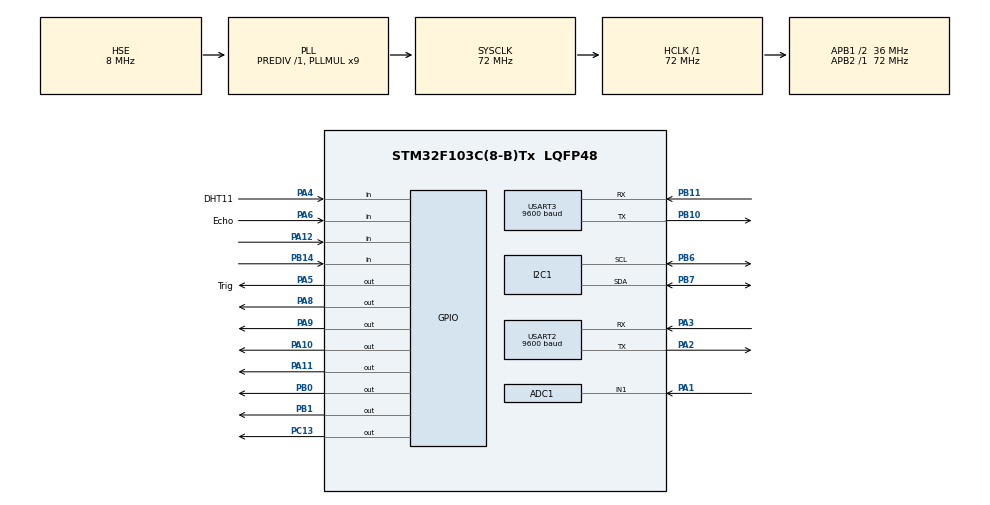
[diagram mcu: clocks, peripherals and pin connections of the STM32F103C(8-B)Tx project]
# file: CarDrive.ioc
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Mcu.Family=STM32F1
NVIC.USART3_IRQn=true\:0\:0\:false\:false\:true\:true\:true
PB10.Mode=Asynchronous
PA6.GPIO_Label=Echo
PB11.Signal=USART3_RX
RCC.SYSCLKSource=RCC_SYSCLKSOURCE_PLLCLK
ProjectManager.StackSize=0x400
PD1-OSC_OUT.Signal=RCC_OSC_OUT
PA12.Signal=GPIO_Input
USART3.BaudRate=9600
RCC.HCLKFreq_Value=72000000
RCC.APB2TimFreq_Value=72000000
PB6.Signal=I2C1_SCL
PB6.Mode=I2C
RCC.AHBFreq_Value=72000000
ADC1.Channel-0\#ChannelRegularConversion=ADC_CHANNEL_1
PA4.GPIO_PuPd=GPIO_PULLUP
RCC.PLLMUL=RCC_PLL_MUL9
PA6.GPIO_PuPd=GPIO_PULLDOWN
PC14-OSC32_IN.Mode=LSE-External-Oscillator
PA14.Mode=Serial_Wire
PB7.Signal=I2C1_SDA
PA8.Signal=GPIO_Output
ADC1.SamplingTime-0\#ChannelRegularConversion=ADC_SAMPLETIME_1CYCLE_5
Mcu.Package=LQFP48
TIM2.Prescaler=71
PB14.GPIO_PuPd=GPIO_PULLDOWN
PB1.Signal=GPIO_Output
PA6.Signal=GPIO_Input
USART2.VirtualMode=VM_ASYNC
PA10.Signal=GPIO_Output
SH.ADCx_IN1.0=ADC1_IN1,IN1
RCC.APB1TimFreq_Value=72000000
PA12.GPIO_PuPd=GPIO_PULLUP
PA4.GPIO_Label=DHT11
PA3.Signal=USART2_RX
RCC.PLLSourceVirtual=RCC_PLLSOURCE_HSE
PC15-OSC32_OUT.Mode=LSE-External-Oscillator
ADC1.Rank-0\#ChannelRegularConversion=1
PD1-OSC_OUT.Mode=HSE-External-Oscillator
PC13-TAMPER-RTC.Signal=GPIO_Output
PD0-OSC_IN.Signal=RCC_OSC_IN
RCC.APB1CLKDivider=RCC_HCLK_DIV2
PC14-OSC32_IN.Signal=RCC_OSC32_IN
NVIC.USART2_IRQn=true\:0\:0\:false\:false\:true\:true\:true
USART2.BaudRate=9600
RCC.ADCPresc=RCC_ADCPCLK2_DIV6
PA13.Signal=SYS_JTMS-SWDIO
PA3.Mode=Asynchronous
PB11.Mode=Asynchronous
ProjectManager.TargetToolchain=STM32CubeIDE
PA9.Signal=GPIO_Output
RCC.USBFreq_Value=72000000
PC15-OSC32_OUT.Signal=RCC_OSC32_OUT
PA1.Signal=ADCx_IN1
PD0-OSC_IN.Mode=HSE-External-Oscillator
PB10.Signal=USART3_TX
PB14.Signal=GPIO_Input
PA5.Signal=GPIO_Output
board=custom
RCC.APB2Freq_Value=72000000
VP_TIM2_VS_ClockSourceINT.Mode=Internal
TIM2.Period=50000
PA13.Mode=Serial_Wire
Mcu.Name=STM32F103C(8-B)Tx
PA2.Signal=USART2_TX
PA4.Signal=GPIO_Input
RCC.SYSCLKFreq_VALUE=72000000
ADC1.master=1
PA5.GPIO_Label=Trig
USART3.VirtualMode=VM_ASYNC
PB7.Mode=I2C
PA11.Signal=GPIO_Output
PA14.Signal=SYS_JTCK-SWCLK
ProjectManager.HeapSize=0x200
NVIC.PriorityGroup=NVIC_PRIORITYGROUP_4
ADC1.NbrOfConversionFlag=1
PA2.Mode=Asynchronous
RCC.APB1Freq_Value=36000000
PB0.Signal=GPIO_Output

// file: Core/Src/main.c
/* USER CODE BEGIN Header */
/**
  ******************************************************************************
  * @file           : main.c
  * @brief          : Main program body
  ******************************************************************************
  * @attention
  *
  * <h2><center>&copy; Copyright (c) 2021 STMicroelectronics.
  * All rights reserved.</center></h2>
  *
  * This software component is licensed by ST under BSD 3-Clause license,
  * the "License"; You may not use this file except in compliance with the
  * License. You may obtain a copy of the License at:
  *                        opensource.org/licenses/BSD-3-Clause
  *
  ******************************************************************************
  */
/* USER CODE END Header */
#include "main.h"
#include "adc.h"
#include "i2c.h"
#include "tim.h"
#include "usart.h"
#include "gpio.h"

/* USER CODE BEGIN Includes */
#include "mlx90614.h"
#include "BMP180.h"
#include "GPS.h"
#include "DHT.h"
/* USER CODE END Includes */

/* USER CODE BEGIN PV */
uint8_t uart2_rxbuf[1];
uint8_t uart3_rxbuf[1];
uint8_t rxok[1];
uint8_t WheelDrive = 0x04;

float ObjectTemperature;
float AmbientTemperature;
float Emissivity;
float  sound = 0;
float temperature = 0;
float AirQuality = 0;
float humidity;
float distance;
uint32_t pressure = 0;
DHT_data DHT11data;

uint32_t package1[5] = {0,0,0,0,0};
uint32_t package2[5] = {0,0,0,0,0};
uint32_t package3[5] = {0,0,0,0,0};
uint32_t package4[5] = {0,0,0,0,0};

/* USER CODE END PV */

void SystemClock_Config(void);

/* USER CODE BEGIN 0 */

float airQuality(){
float Value[22];////取22个值做滤波用
	  float AD_Value;
	  HAL_ADCEx_Calibration_Start(&hadc1);
     for(char n=0;n<22;n++)

     {
         HAL_ADC_Start(&hadc1);
         HAL_ADC_PollForConversion(&hadc1, 10);    //等待转换完成，第二个参数表示超时时间，单位ms
         if(HAL_IS_BIT_SET(HAL_ADC_GetState(&hadc1), HAL_ADC_STATE_REG_EOC))
         {
             Value[n]=HAL_ADC_GetValue(&hadc1);
             AD_Value += Value[n];
         }
     }
     HAL_ADC_Stop(&hadc1);

     float max = Value[0];
     float min = Value[0];
     for(char n=0;n<22;n++)//取最大值、最小值
     {
         max = (Value[n]<max)?max:Value[n];
         min = (min<Value[n])?min:Value[n];
     }

     float result = (float)((AD_Value - max - min) / 20) * (3.311 / 4096);

     return result * 1000;
}

float getDistance() {
				HAL_TIM_Base_Start_IT(&htim2);
		  	    htim2.Instance->CNT = 0;
		  	    float t1,t2,distance;
		  	    HAL_GPIO_WritePin(Trig_GPIO_Port,Trig_Pin,GPIO_PIN_RESET);
		  	    HAL_GPIO_WritePin(Trig_GPIO_Port,Trig_Pin,GPIO_PIN_SET);
		  	    HAL_Delay(1);
		  	    HAL_GPIO_WritePin(Trig_GPIO_Port,Trig_Pin,GPIO_PIN_RESET);
		  	   while(HAL_GPIO_ReadPin(Echo_GPIO_Port,Echo_Pin) == GPIO_PIN_RESET)
		  	   t1=htim2.Instance->CNT;
		  	   while(HAL_GPIO_ReadPin(Echo_GPIO_Port,Echo_Pin) == GPIO_PIN_SET)
		  	   t2=htim2.Instance->CNT;
		  	   htim2.Instance->CNT = 0;
		  	   distance=(t2-t1)*17/(float)1000;
		  	   HAL_GPIO_WritePin(Trig_GPIO_Port,Trig_Pin,GPIO_PIN_RESET);
		  	   return distance;
}

/* USER CODE END 0 */

int main(void)
{

  /* MCU Configuration--------------------------------------------------------*/

  /* Reset of all peripherals, Initializes the Flash interface and the Systick. */
  HAL_Init();

  /* Configure the system clock */
  SystemClock_Config();

  /* Initialize all configured peripherals */
  MX_GPIO_Init();
  MX_USART2_UART_Init();
  MX_USART3_UART_Init();
  MX_I2C1_Init();
  MX_ADC1_Init();
  MX_TIM2_Init();
  /* USER CODE BEGIN 2 */

  HAL_UART_Receive_IT(&huart3, uart3_rxbuf, 1);
  BMP180_SetOversampling(BMP180_ULTRA);
  BMP180_UpdateCalibrationData();
  MLX90614_Init(&hi2c1);
  MLX90614_SetEmissivity(0.985);
  GPS_Init();

HAL_GPIO_WritePin(GPIOC,GPIO_PIN_13, GPIO_PIN_SET);

  /* USER CODE END 2 */

  /* Infinite loop */
  while (1)
  {

    /* USER CODE BEGIN 3 */

	  HAL_Delay(500);
	  distance = getDistance();
	  temperature = BMP180_GetRawTemperature();
	  pressure = BMP180_GetPressure();
	  MLX90614_ReadAmbientTemperature(&AmbientTemperature);
	  sound = HAL_GPIO_ReadPin(GPIOA,GPIO_PIN_12);
	  MLX90614_ReadObjectTemperature(&ObjectTemperature);
	  MLX90614_GetEmissivity(&Emissivity);
	  AirQuality = airQuality();
	  DHT11data = DHT_getData (DHT11);
	  if (DHT11data.hum != 0) humidity = DHT11data.hum;

//确定包头
	  package1[0] = 0;
	  package2[0] = 1;
	  package3[0] = 2;
	  package4[0] = 3;
//包1
	  package1[1] = pressure;
	  package1[2] = temperature;
	  memcpy(&package1[3],&AmbientTemperature,4);
	  memcpy(&package1[4],&ObjectTemperature,4);

//包2
	  memcpy(&package2[1],&AirQuality,4);
	  memcpy(&package2[2],&sound,4);

	  //直接把GPS经度（float类型） memcpy到数据包内
	  memcpy(&package2[3],&GPS.dec_longitude,4);
	  memcpy(&package2[4],&GPS.dec_latitude,4);
//包3
	  memcpy(&package3[1],&GPS.msl_altitude,4);
	  memcpy(&package3[2],&GPS.speed_km,4);
	  package3[3] = GPS.satelites;
	  memcpy(&package3[4],&humidity,4);

//包4
	  memcpy(&package4[1],&distance,4);

	  HAL_UART_Transmit(&huart3,package1,20,0xFFFF);
	  HAL_UART_Transmit(&huart3,package2,20,0xFFFF);
	  HAL_UART_Transmit(&huart3,package3,20,0xFFFF);
	  HAL_UART_Transmit(&huart3,package4,20,0xFFFF);

//
//
//	  }
//
//
//正对调节 右边延时，顺时延长
//
//	  if (HAL_GPIO_ReadPin(GPIOB, GPIO_PIN_14) == 1) {
//		  HAL_GPIO_WritePin(GPIOC,GPIO_PIN_13, GPIO_PIN_RESET);
//	  } else {
//		  HAL_GPIO_WritePin(GPIOC,GPIO_PIN_13, GPIO_PIN_SET);
//	  }
//

  }
  /* USER CODE END 3 */
}

void SystemClock_Config(void)
{
  RCC_OscInitTypeDef RCC_OscInitStruct = {0};
  RCC_ClkInitTypeDef RCC_ClkInitStruct = {0};
  RCC_PeriphCLKInitTypeDef PeriphClkInit = {0};

  /** Initializes the RCC Oscillators according to the specified parameters
  * in the RCC_OscInitTypeDef structure.
  */
  RCC_OscInitStruct.OscillatorType = RCC_OSCILLATORTYPE_HSE;
  RCC_OscInitStruct.HSEState = RCC_HSE_ON;
  RCC_OscInitStruct.HSEPredivValue = RCC_HSE_PREDIV_DIV1;
  RCC_OscInitStruct.HSIState = RCC_HSI_ON;
  RCC_OscInitStruct.PLL.PLLState = RCC_PLL_ON;
  RCC_OscInitStruct.PLL.PLLSource = RCC_PLLSOURCE_HSE;
  RCC_OscInitStruct.PLL.PLLMUL = RCC_PLL_MUL9;
  if (HAL_RCC_OscConfig(&RCC_OscInitStruct) != HAL_OK)
  {
    Error_Handler();
  }
  /** Initializes the CPU, AHB and APB buses clocks
  */
  RCC_ClkInitStruct.ClockType = RCC_CLOCKTYPE_HCLK|RCC_CLOCKTYPE_SYSCLK
                              |RCC_CLOCKTYPE_PCLK1|RCC_CLOCKTYPE_PCLK2;
  RCC_ClkInitStruct.SYSCLKSource = RCC_SYSCLKSOURCE_PLLCLK;
  RCC_ClkInitStruct.AHBCLKDivider = RCC_SYSCLK_DIV1;
  RCC_ClkInitStruct.APB1CLKDivider = RCC_HCLK_DIV2;
  RCC_ClkInitStruct.APB2CLKDivider = RCC_HCLK_DIV1;

  if (HAL_RCC_ClockConfig(&RCC_ClkInitStruct, FLASH_LATENCY_2) != HAL_OK)
  {
    Error_Handler();
  }
  PeriphClkInit.PeriphClockSelection = RCC_PERIPHCLK_ADC;
  PeriphClkInit.AdcClockSelection = RCC_ADCPCLK2_DIV6;
  if (HAL_RCCEx_PeriphCLKConfig(&PeriphClkInit) != HAL_OK)
  {
    Error_Handler();
  }
}

/* USER CODE BEGIN 4 */
void HAL_UART_RxCpltCallback(UART_HandleTypeDef *huart)
{
//串口3连接了蓝牙
	 if(huart->Instance == USART2)
	      {

		 	GPS_UART_CallBack();

			    // 重新注册一次，要不然下次收不到了（上个函数内部已经注册）
	      }
	 if(huart->Instance == USART3)
	      {
			//收到前驱信息
					if (uart3_rxbuf[0] == 0x03) {
						WheelDrive = 0x03;
					}
			//收到四驱信息
					if (uart3_rxbuf[0] == 0x04) {
						WheelDrive = 0x04;
					}
			//收到后驱信息
					if (uart3_rxbuf[0] == 0x05) {
						WheelDrive = 0x05;
					}

			//收到前进信息
			if (uart3_rxbuf[0] == 0xAA) {

				if(WheelDrive == 0x03)
				{
				  HAL_GPIO_WritePin(GPIOA,GPIO_PIN_8, GPIO_PIN_RESET);
				  HAL_GPIO_WritePin(GPIOA,GPIO_PIN_9, GPIO_PIN_SET);
				}
				else if (WheelDrive == 0x05)
				{
				  HAL_GPIO_WritePin(GPIOA,GPIO_PIN_10, GPIO_PIN_SET);
				  HAL_GPIO_WritePin(GPIOA,GPIO_PIN_11, GPIO_PIN_RESET);
				}
				else {
				  HAL_GPIO_WritePin(GPIOA,GPIO_PIN_8, GPIO_PIN_RESET);
				  HAL_GPIO_WritePin(GPIOA,GPIO_PIN_9, GPIO_PIN_SET);
				  HAL_GPIO_WritePin(GPIOA,GPIO_PIN_10, GPIO_PIN_SET);
				  HAL_GPIO_WritePin(GPIOA,GPIO_PIN_11, GPIO_PIN_RESET);
				}
			}
			//收到后退信息
			if (uart3_rxbuf[0] == 0xBB) {

				if(WheelDrive == 0x03)
				{
				  HAL_GPIO_WritePin(GPIOA,GPIO_PIN_8, GPIO_PIN_SET);
				  HAL_GPIO_WritePin(GPIOA,GPIO_PIN_9, GPIO_PIN_RESET);
				}
				else if (WheelDrive == 0x05)
				{
				  HAL_GPIO_WritePin(GPIOA,GPIO_PIN_10, GPIO_PIN_RESET);
				  HAL_GPIO_WritePin(GPIOA,GPIO_PIN_11, GPIO_PIN_SET);
				}
				else {
				  HAL_GPIO_WritePin(GPIOA,GPIO_PIN_8, GPIO_PIN_SET);
				  HAL_GPIO_WritePin(GPIOA,GPIO_PIN_9, GPIO_PIN_RESET);
				  HAL_GPIO_WritePin(GPIOA,GPIO_PIN_10, GPIO_PIN_RESET);
				  HAL_GPIO_WritePin(GPIOA,GPIO_PIN_11, GPIO_PIN_SET);
				}

			}

			//收到左转信息
					if (uart3_rxbuf[0] == 0xCC) {

						  HAL_GPIO_WritePin(GPIOB,GPIO_PIN_0, GPIO_PIN_RESET);
						  HAL_GPIO_WritePin(GPIOB,GPIO_PIN_1, GPIO_PIN_SET);

					}

			//收到右转信息
					if (uart3_rxbuf[0] == 0xDD) {

						  HAL_GPIO_WritePin(GPIOB,GPIO_PIN_0, GPIO_PIN_SET);
						  HAL_GPIO_WritePin(GPIOB,GPIO_PIN_1, GPIO_PIN_RESET);

					}
			//收到右转信息
			if (uart3_rxbuf[0] == 0x02) {

				  HAL_GPIO_WritePin(GPIOB,GPIO_PIN_0, GPIO_PIN_RESET);
				  HAL_GPIO_WritePin(GPIOB,GPIO_PIN_1, GPIO_PIN_RESET);

			}

			//停止信息（待机 00 ）
			if (uart3_rxbuf[0] == 0x01) {

				  HAL_GPIO_WritePin(GPIOA,GPIO_PIN_8, GPIO_PIN_RESET);
				  HAL_GPIO_WritePin(GPIOA,GPIO_PIN_9, GPIO_PIN_RESET);
				  	  HAL_GPIO_WritePin(GPIOA,GPIO_PIN_10, GPIO_PIN_RESET);
				  	  HAL_GPIO_WritePin(GPIOA,GPIO_PIN_11, GPIO_PIN_RESET);

			}

			HAL_UART_Receive_IT(&huart3, uart3_rxbuf, 1);       // 重新注册一次，要不然下次收不到了
	      }

}

/* USER CODE END 4 */

void Error_Handler(void)
{
}

/************************ (C) COPYRIGHT STMicroelectronics *****END OF FILE****/
